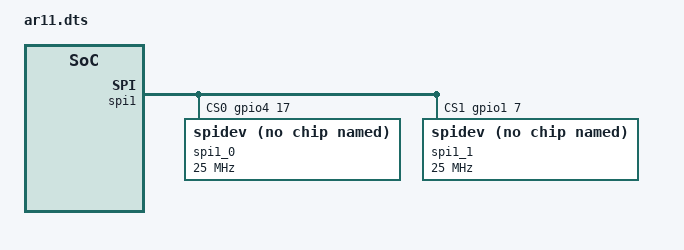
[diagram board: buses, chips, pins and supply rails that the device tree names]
/*  
* Copyright (C) 2012 Texas Instruments Incorporated - http://www.ti.com/
*
* This program is free software; you can redistribute it and/or modify
* it under the terms of the GNU General Purpose License Version 2 as
* published by the Free Software Foundation
*
* Original from: github.com/jadonk/validation-scripts/blob/master/test-capemgr/ 
*
* Modified by Derek Molloy for the example on www.derekmolloy.ie
* that maps GPIO pins for the example
*/

/dts-v1/;
/plugin/;

/{
    compatible = "ti,beaglebone", "ti,beaglebone-black";
    part-number = "AR11";
    version = "00A0";
    
    /* state the resources this cape uses */
    exclusive-use =
        /* the pin header P9 uses */
        "P9.11", /* GPIO_30, CFG_PROGB  */
        "P9.13", /* GPIO_31, CFG_INITB  */
        "P9.15", /* GPIO_48, CFG_DONE   */
        "P9.28", /* SPI1_CS0, h_wcs_i   */
        "P9.29", /* SPI1_D0, h_sdo_o    */
        "P9.30", /* SPI1_D1, h_sdi_i    */
        "P9.31", /* SPI1_SCLK, h_sck_i  */
        "P9.42"; /* SPI1_CS1, h_rcs_i  */
        
    fragment@0 {
        target = <&am33xx_pinmux>;
        __overlay__ {
            fpga_config_pins: pinmux_fpga_config_pins {
     	        pinctrl-single,pins = <
                    0x070 0x17  /* CFG_PROGB P9.11 GPIO_30 ADDR(870) gpio0_30 OUTPUT | PULLUP | MODE7 */
                    0x074 0x37  /* CFG_INITB P9.13 GPIO_31 ADDR(874) gpio0_31 INPUT  | PULLUP | MODE7 */
                    0x040 0x37  /* CFG_DONE  P9.15 GPI0_48 ADDR(840) gpio1_16 INPUT  | PULLUP | MODE7 */
     		>;
            };

            spi1_pins: pinmux_spi1_pins {
                pinctrl-single,pins = <
                    0x190 0x13	/* P9_31 = spi1_sclk    OUTPUT_PULLUP | MODE3 */
		    0x194 0x33	/* P9_29 = spi1_d0      INPUT_PULLUP  | MODE3 */
		    0x198 0x13	/* P9_30 = spi1_d1	OUTPUT_PULLUP | MODE3 */
		    0x19c 0x13	/* P9_28 = spi1_cs0     OUTPUT_PULLUP | MODE3 */	
		    0x164 0x12	/* P9_42 = spi1_cs1     OUTPUT_PULLUP | MODE2 */	
                >;
            };
        };
    };

    fragment@1 {
        target = <&ocp>;
        __overlay__ {
            test_helper: helper {
                 compatible = "bone-pinmux-helper";
                 pinctrl-names = "default";
                 pinctrl-0 = <&fpga_config_pins>;
                 status = "okay";
            };
        };
    };

    fragment@2 {
        target = <&spi1>;
        __overlay__ {
            #address-cells = <1>;
            #size-cells = <0>;
            status		= "okay";
            pinctrl-names	= "default";
            pinctrl-0		= <&spi1_pins>;	
            cs-gpios = <&gpio4 17 0>, <&gpio1 7 0>;
            spi1_0 {
                // SPI_CS0 is for SPI-Write
                #address-cells = <1>;
                #size-cells = <0>;
                compatible = "spidev";
                reg = <0>;
                spi-max-frequency = <25000000>;
                // spi-cpha; // mode 1 (CPOL = 0, CPHA = 1)
                // default(no definition): mode 0 (CPOL = 0, CPHA = 0)
            };
            spi1_1 {
                // SPI_CS1 is for SPI-Read
                #address-cells = <1>;
                #size-cells = <0>;
                compatible = "spidev";
                reg = <1>;
                spi-max-frequency = <25000000>;
            };
        };
    };
};
